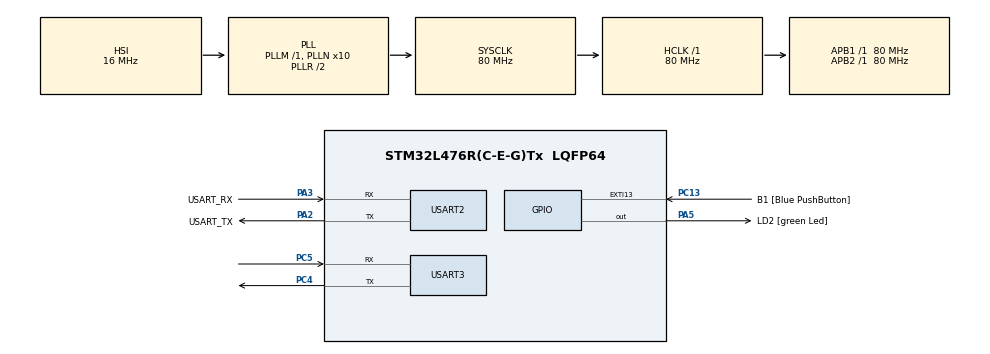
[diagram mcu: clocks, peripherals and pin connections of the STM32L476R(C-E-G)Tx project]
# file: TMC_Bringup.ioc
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Mcu.Family=STM32L4
Mcu.Name=STM32L476R(C-E-G)Tx
Mcu.Package=LQFP64
NVIC.PriorityGroup=NVIC_PRIORITYGROUP_4
PA13\ (JTMS-SWDIO).GPIO_Label=TMS
PA13\ (JTMS-SWDIO).Mode=Serial_Wire
PA13\ (JTMS-SWDIO).Signal=SYS_JTMS-SWDIO
PA14\ (JTCK-SWCLK).GPIO_Label=TCK
PA14\ (JTCK-SWCLK).Mode=Serial_Wire
PA14\ (JTCK-SWCLK).Signal=SYS_JTCK-SWCLK
PA2.GPIO_Label=USART_TX
PA2.GPIO_Mode=GPIO_MODE_AF_PP
PA2.GPIO_PuPd=GPIO_NOPULL
PA2.GPIO_Speed=GPIO_SPEED_FREQ_VERY_HIGH
PA2.Mode=Asynchronous
PA2.Signal=USART2_TX
PA3.GPIO_Label=USART_RX
PA3.GPIO_Mode=GPIO_MODE_AF_PP
PA3.GPIO_PuPd=GPIO_NOPULL
PA3.GPIO_Speed=GPIO_SPEED_FREQ_VERY_HIGH
PA3.Mode=Asynchronous
PA3.Signal=USART2_RX
PA5.GPIO_Label=LD2 [green Led]
PA5.GPIO_ModeDefaultOutputPP=GPIO_MODE_OUTPUT_PP
PA5.GPIO_PuPd=GPIO_NOPULL
PA5.GPIO_Speed=GPIO_SPEED_FREQ_LOW
PA5.Signal=GPIO_Output
PB3\ (JTDO-TRACESWO).GPIO_Label=SWO
PB3\ (JTDO-TRACESWO).Signal=SYS_JTDO-SWO
PC13.GPIO_Label=B1 [Blue PushButton]
PC13.GPIO_ModeDefaultEXTI=GPIO_MODE_IT_FALLING
PC13.GPIO_PuPd=GPIO_NOPULL
PC13.Signal=GPXTI13
PC14-OSC32_IN\ (PC14).Mode=LSE-External-Oscillator
PC14-OSC32_IN\ (PC14).Signal=RCC_OSC32_IN
PC15-OSC32_OUT\ (PC15).Mode=LSE-External-Oscillator
PC15-OSC32_OUT\ (PC15).Signal=RCC_OSC32_OUT
PC4.Mode=Asynchronous
PC4.Signal=USART3_TX
PC5.Mode=Asynchronous
PC5.Signal=USART3_RX
PH0-OSC_IN\ (PH0).Signal=RCC_OSC_IN
PH1-OSC_OUT\ (PH1).Signal=RCC_OSC_OUT
ProjectManager.HeapSize=0x200
ProjectManager.StackSize=0x400
ProjectManager.TargetToolchain=STM32CubeIDE
RCC.ADCFreq_Value=64000000
RCC.AHBFreq_Value=80000000
RCC.APB1Freq_Value=80000000
RCC.APB1TimFreq_Value=80000000
RCC.APB2Freq_Value=80000000
RCC.APB2TimFreq_Value=80000000
RCC.CortexFreq_Value=80000000
RCC.HCLKFreq_Value=80000000
RCC.HSE_VALUE=8000000
RCC.HSI_VALUE=16000000
RCC.MSI_VALUE=4000000
RCC.PLLN=10
RCC.PLLSourceVirtual=RCC_PLLSOURCE_HSI
RCC.PREFETCH_ENABLE=1
RCC.SYSCLKFreq_VALUE=80000000
RCC.SYSCLKSource=RCC_SYSCLKSOURCE_PLLCLK
RCC.USBFreq_Value=64000000
RCC.VCOOutputFreq_Value=160000000
USART2.VirtualMode-Asynchronous=VM_ASYNC
USART3.VirtualMode-Asynchronous=VM_ASYNC
board=NUCLEO-L476RG

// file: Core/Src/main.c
/* USER CODE BEGIN Header */
/**
  ******************************************************************************
  * @file           : main.c
  * @brief          : Main program body
  ******************************************************************************
  * @attention
  *
  * Copyright (c) 2026 STMicroelectronics.
  * All rights reserved.
  *
  * This software is licensed under terms that can be found in the LICENSE file
  * in the root directory of this software component.
  * If no LICENSE file comes with this software, it is provided AS-IS.
  *
  ******************************************************************************
  */
/* USER CODE END Header */
#include "main.h"

/* USER CODE BEGIN Includes */
#include "tmc/ic/TMC9660/TMC9660.h"
#include "tmc/ic/TMC9660/TMC9660_BL_HW_Abstraction.h"
#include "tmc/ic/TMC9660/TMC9660_PARAM_HW_Abstraction.h"
#include <stdio.h>
#include <stdarg.h>
/* USER CODE END Includes */

UART_HandleTypeDef huart2; // Terminal (ST-LINK)
UART_HandleTypeDef huart3; // TMC9660 (CN10 P1, P2)

/* USER CODE BEGIN PV */
uint16_t tmc9660_id = 0;
int32_t chipID = 0;
uint8_t tmc_detected = false;
/* USER CODE END PV */

void SystemClock_Config(void);
static void MX_GPIO_Init(void);
static void MX_USART2_UART_Init(void);
static void MX_USART3_UART_Init(void);
/* USER CODE BEGIN PFP */
bool tmc9660_app_GotoBootMode(uint16_t icID);
void tmc9660_UART_WriteRead(uint8_t channel, uint8_t *data, size_t writeLength, size_t readLength);
void UART_Printf(const char* fmt, ...);
/* USER CODE END PFP */

/* USER CODE BEGIN 0 */
/* Implementation of mandatory timestamp callback */
uint32_t tmc_getMicrosecondTimestamp(void)
{
    /* Return a value in microseconds.
       This example assumes a 80MHz SystemCoreClock. */
    return (uint32_t)(HAL_GetTick() * 1000);
}

/* Mandatory bus type callback */
TMC9660BusType tmc9660_getBusType(uint16_t icID)
{
    return TMC9660_BUS_UART;
}

/* Mandatory bus address callback */
TMC9660BusAddresses tmc9660_getBusAddresses(uint16_t icID)
{
    TMC9660BusAddresses addr;
    addr.device = 1;   // Default device address
    addr.host = 255;   // Default host address
    return addr;
}

/* Mandatory physical UART transport callback */
bool tmc9660_readWriteUART(uint16_t icID, uint8_t *data, size_t writeLength, size_t readLength)
{
	/*
	 * typedef enum
		{
		  HAL_OK       = 0x00,
		  HAL_ERROR    = 0x01,
		  HAL_BUSY     = 0x02,
		  HAL_TIMEOUT  = 0x03
		} HAL_StatusTypeDef;
	 */
	// 1. Transmit the command
	if (HAL_UART_Transmit(&huart3, data, (uint16_t)writeLength, 100) != HAL_OK) return false;

	// 2. Receive the reply
	if (readLength > 0)
	{
		uint8_t byteIn = 0;

		// --- THE FIX: Line-Turnaround Glitch Filter ---
		// Read bytes one by one until we get a non-zero byte.
		// This silently discards the 0x00 glitch and captures the true start byte (e.g., 255).
		do {
			if (HAL_UART_Receive(&huart3, &byteIn, 1, 50) != HAL_OK) {
				return false; // Timeout
			}
		} while (byteIn == 0x00);

		// Store the first valid byte (255) at the correct index (0)
		data[0] = byteIn;

		// Read the remaining bytes of the datagram (which will now include the CRC!)
		if (readLength > 1) {
			if (HAL_UART_Receive(&huart3, &data[1], (uint16_t)(readLength - 1), 100) != HAL_OK) {
				return false;
			}
		}
	}

	return true;
}
/* Debug Helper: Print formatted strings to USART2 (PC Terminal) */
void UART_Printf(const char* fmt, ...) {
    char buf[128];
    va_list args;
    va_start(args, fmt);
    int len = vsnprintf(buf, sizeof(buf), fmt, args);
    va_end(args);
    if (len > 0) HAL_UART_Transmit(&huart2, (uint8_t*)buf, len, 100);
}

void Test_TMC9660_Status(int32_t status) {
    TMC9660ParamStatus test = (TMC9660ParamStatus)status;

    switch (test) {
        case TMC9660_PARAMSTATUS_CHKERROR:
            UART_Printf("STATUS: TMC9660_PARAMSTATUS_CHKERROR (Checksum error during communication)\r\n");
            break;
        case TMC9660_PARAMSTATUS_INVALID_CMD:
            UART_Printf("STATUS: TMC9660_PARAMSTATUS_INVALID_CMD (Invalid command number)\r\n");
            break;
        case TMC9660_PARAMSTATUS_WRONG_TYPE:
            UART_Printf("STATUS: TMC9660_PARAMSTATUS_WRONG_TYPE (Invalid type number)\r\n");
            break;
        case TMC9660_PARAMSTATUS_INVALID_VALUE:
            UART_Printf("STATUS: TMC9660_PARAMSTATUS_INVALID_VALUE (Invalid value)\r\n");
            break;
        case TMC9660_PARAMSTATUS_CMD_NOT_AVAILABLE:
            UART_Printf("STATUS: TMC9660_PARAMSTATUS_CMD_NOT_AVAILABLE (Command currently not available)\r\n");
            break;
        case TMC9660_PARAMSTATUS_CMD_LOAD_ERROR:
            UART_Printf("STATUS: TMC9660_PARAMSTATUS_CMD_LOAD_ERROR (Failed to load command into script memory)\r\n");
            break;
        case TMC9660_PARAMSTATUS_MAX_EXCEEDED:
            UART_Printf("STATUS: TMC9660_PARAMSTATUS_MAX_EXCEEDED (Maximum exceeded)\r\n");
            break;
        case TMC9660_PARAMSTATUS_CMD_DOWNLOAD_NOT_POSSIBLE:
            UART_Printf("STATUS: TMC9660_PARAMSTATUS_CMD_DOWNLOAD_NOT_POSSIBLE (Script memory loading not available)\r\n");
            break;
        case TMC9660_PARAMSTATUS_OK:
            UART_Printf("STATUS: TMC9660_PARAMSTATUS_OK (Success)\r\n");
            break;
        case TMC9660_PARAMSTATUS_CMD_LOADED:
            UART_Printf("STATUS: TMC9660_PARAMSTATUS_CMD_LOADED (Command successfully loaded into script memory)\r\n");
            break;
        default:
            UART_Printf("STATUS: UNKNOWN (Code: %ld)\r\n", status);
            break;
    }
}

void ERR_Handler(int line) {
	UART_Printf("\nFailure @ line: %d\n", line);
	while(1) {};
}

bool tmc9660_app_GotoBootMode(uint16_t icID) {
	// assuming tmc9660_id global set
	bool ret = false;
	uint32_t rVal = 0;
	TMC9660BlStatus blStatus;

	// 1. Try returning from Register Mode
	// TODO: improve TMC-API to return device status byte reply
    tmc9660_reg_returnToBootloader(icID);
    HAL_Delay(100); // Delay for possible Init

    // 2. Try returning from Parameter Mode
    // TODO: improve TMC-API to return device status byte reply
    tmc9660_param_returnToBootloader(icID);
    HAL_Delay(100); // Delay for possible Init

	// 3. Confirm Boot Mode
	blStatus = tmc9660_bl_sendCommand(icID, TMC9660_BLCMD_GET_INFO, 0, &rVal);
	if ( blStatus == TMC9660_BLSTATUS_OK ) {
		ret = true;
	}

	return ret;
}

/**
 * @brief Converts TMC9660 raw voltage units (100mV) to Millivolts (mV).
 * @param volt100mV Raw value from IC (e.g., 80 for 8.0V).
 * @return uint32_t Equivalent value in millivolts (e.g., 8000).
 */
static inline uint32_t tmc9660_app_volt100mVtoMV(uint32_t volt100mV) {
    return volt100mV * 100;
}

/* Helper: Step 1 - Verify Motor Supply Voltage >= 8V */
static bool verifyMotorVoltage(uint16_t icID) {
    // 1. Get raw parameter (Units: 100mV)
	// TODO: prefer to expose TMC9660ParamStatus device status reply in TMC-API
    uint32_t raw_voltage = tmc9660_param_getParameter(icID, TMC9660_PARAM_SUPPLY_VOLTAGE);

    // 2. Convert to Millivolts (mV)
    uint32_t voltage_mv = tmc9660_app_volt100mVtoMV(raw_voltage);

    // 3. Perform threshold check (8000mV)
    if (voltage_mv < 8000) {
        UART_Printf("Error: Voltage is %ld mV (threshold 8000 mV)\r\n", voltage_mv);
        return false;
    }

    return true;
}

/* Helper: Step 2 - Set Motor Type to BLDC */
static bool setupMotorType(uint16_t icID) {
    // 3 = 3-Phase BLDC/PMSM
	// TODO: prefer to expose TMC9660ParamStatus device status reply in TMC-API
    return tmc9660_param_setParameter(icID, TMC9660_PARAM_MOTOR_TYPE, 3);
}

/* Helper: Step 3 - Set Pole Pairs */
static bool setupPolePairs(uint16_t icID) {
    // QBL5704-94-04-032 has 4 poles = 2 pole pairs
	// TODO: prefer to expose TMC9660ParamStatus device status reply in TMC-API
    return tmc9660_param_setParameter(icID, TMC9660_PARAM_MOTOR_POLE_PAIRS, 2);
}

/* Helper: Step 4 - Set Commutation Mode to FOC Hall */
static bool setupCommutationMode(uint16_t icID) {
    // 6 = FOC based on Hall Sensor feedback
	// TODO: prefer to expose TMC9660ParamStatus device status reply in TMC-API
    return tmc9660_param_setParameter(icID, TMC9660_PARAM_COMMUTATION_MODE, 6);
}

/**
 * @brief Configures the TMC9660 for a Hall-based FOC test with the QBL5704 motor.
 * @param icID The identifier for the IC.
 * @return bool True if all steps passed, False otherwise.
 */
bool tmc9660_app_setupQBL5704BLDCHallFeedbackTest(uint16_t icID) {
	bool test;
    UART_Printf("\r\n--- Starting QBL5704 Setup ---\r\n");

    // Step 1: Voltage Verification
    test = verifyMotorVoltage(icID);
    if (test == false) {
        UART_Printf("Error: Supply voltage too low (< 8V). Check VS power.\r\n");
        return false;
    }
    UART_Printf("1. Voltage Check: OK\r\n");

    // Step 2: Configure Motor Type
    test = setupMotorType(icID);
    if (test == false) {
        UART_Printf("Error: Failed to set Motor Type.\r\n");
        return false;
    }
    UART_Printf("2. Motor Type: BLDC\r\n");

    // Step 3: Configure Pole Pairs
    test = setupPolePairs(icID);
    if (test == false) {
        UART_Printf("Error: Failed to set Pole Pairs.\r\n");
        return false;
    }
    UART_Printf("3. Pole Pairs: 2\r\n");

    // Step 4: Configure Commutation
    test = setupCommutationMode(icID);
    if (test == false) {
        UART_Printf("Error: Failed to set Commutation Mode.\r\n");
        return false;
    }
    UART_Printf("4. Commutation: FOC Hall\r\n");

    UART_Printf("--- QBL5704 Setup Successful ---\r\n");
    return true;
}

/**
 * @brief Performs electrical alignment using Open Loop Current Mode (4).
 * @param icID The identifier for the IC.
 * @return bool True if alignment was successful.
 */
bool tmc9660_app_alignQBL5704HallOffset(uint16_t icID) {
    uint32_t hall_angle_at_zero = 0;

    UART_Printf("\r\n--- Starting Hall Alignment (Current Mode 4) ---\r\n");

    // 1. Enter Open Loop Current Mode (4)
    tmc9660_param_setParameter(icID, TMC9660_PARAM_COMMUTATION_MODE, 4);

    // 2. Set the target electrical angle to 0
    tmc9660_param_setParameter(icID, TMC9660_PARAM_OPENLOOP_ANGLE, 0);

    // 3. Apply alignment current (e.g., 800 units for QBL5704)
    // This locks the rotor to the magnetic 0° position.
    tmc9660_param_setParameter(icID, TMC9660_PARAM_OPENLOOP_CURRENT, 800);

    // 4. Wait for the rotor to physically settle at the magnetic pole
    HAL_Delay(1200);

    // 5. Read the raw Hall electrical angle
    hall_angle_at_zero = tmc9660_param_getParameter(icID, TMC9660_PARAM_HALL_PHI_E);

    UART_Printf("Rotor Locked at 0 deg. Hall Angle Reported: %ld\r\n", hall_angle_at_zero);

    // 6. Set the Offset to bridge the gap between Sensor 0 and Magnetic 0
    tmc9660_param_setParameter(icID, TMC9660_PARAM_HALL_PHI_E_OFFSET, hall_angle_at_zero);

    // 7. Cleanup: Disable current and return to a safe state
    tmc9660_param_setParameter(icID, TMC9660_PARAM_OPENLOOP_CURRENT, 0);
    tmc9660_param_setParameter(icID, TMC9660_PARAM_COMMUTATION_MODE, 0);

    UART_Printf("Offset Programmed. IC now calibrated for QBL5704.\r\n");
    return true;
}

/**
 * @brief Simple test for the QBL5704 motor.
 * Sets safety limits and applies a 200mA torque command.
 */
bool tmc9660_app_runQBL5704BLDCHallFeedbackTest(uint16_t icID) {
	// 0. Setup Necessary Parameter Fields
	// Side Effect: COMMUTATION_MODE=FOC_HALL(6),
	bool test = tmc9660_app_setupQBL5704BLDCHallFeedbackTest(icID);
	if (test == false) {
		return false;
	}

    // 1. Set Maximum Current & Torque Limits (ID 6)
    // In FOC, these are controlled by the same parameter (Max Iq).
    // Setting to 1000 units (Assuming 1.0A / 1000mA limit).
    tmc9660_param_setParameter(icID, TMC9660_PARAM_MAX_TORQUE, 1000);

    // 2. Set Maximum Voltage Limit (ID 5)
    // Setting to 240 units (24.0V limit @ 100mV per unit).
    tmc9660_param_setParameter(icID, TMC9660_PARAM_OUTPUT_VOLTAGE_LIMIT, 240);

    // 3. Set Target Torque (ID 104)
    // Command a constant 200mA torque producing current (Iq).
    // This will cause the motor to spin if the Hall alignment is correct.
    tmc9660_param_setParameter(icID, TMC9660_PARAM_TARGET_TORQUE, 200);
    HAL_Delay(5000);
    tmc9660_param_setParameter(icID, TMC9660_PARAM_TARGET_TORQUE, 0);

    return true;
}
/* USER CODE END 0 */

int main(void)
{

  /* MCU Configuration--------------------------------------------------------*/

  /* Reset of all peripherals, Initializes the Flash interface and the Systick. */
  HAL_Init();

  /* Configure the system clock */
  SystemClock_Config();

  /* Initialize all configured peripherals */
  MX_GPIO_Init();
  MX_USART2_UART_Init();
  MX_USART3_UART_Init();
  /* USER CODE BEGIN 2 */

  /* USER CODE BEGIN 2 */
  uint32_t rVal = 0;
  TMC9660BlStatus blStatus;
  uint32_t reg = 0;

  UART_Printf("\r\n--- TMC9660 Boot Configuration ---\r\n");
  // Can burn these to One-Time-Programming Memory, but not necessary
  // Instead, just run following code block on boot
  // Note: TMC9660's LDOs will lag according to SS_VEXTx_FIELD
  // Note: Fields in Steps #1-#5 are from TMC9660 Datasheet
  // Note: Fields in Steps #6 are from TMC9660 Parameter Mode Guide

  bool bootInit = tmc9660_app_GotoBootMode(tmc9660_id);
  if (bootInit == false) {
	  UART_Printf("Failed to enter Boot Mode\n");
	  ERR_Handler(__LINE__);
  }

  // Select CONFIG Bank 5
  blStatus = tmc9660_bl_sendCommand(tmc9660_id, TMC9660_BLCMD_SET_BANK, 5, &rVal);
  if (blStatus != TMC9660_BLSTATUS_OK) {
  	  ERR_Handler(__LINE__);
  }

  // 1. LDO & POWER
  // VEXT1=5.0V(3), Slope=3ms(0), VEXT2=3.3V(2), Slope=3ms(0), ShortFault=false(0)
  blStatus = tmc9660_bl_sendCommand(tmc9660_id, TMC9660_BLCMD_SET_ADDRESS, CONFIG_BOOT_00_POWER, &rVal);
  if (blStatus != TMC9660_BLSTATUS_OK) {
	  ERR_Handler(__LINE__);
  }
  blStatus = tmc9660_bl_sendCommand(tmc9660_id, TMC9660_BLCMD_READ_16, 0, &reg);
  if (blStatus != TMC9660_BLSTATUS_OK) {
	  ERR_Handler(__LINE__);
  }
  reg = field_update16(reg, CONFIG_BOOT_00_POWER_VEXT1_FIELD, 3); 				/* 0: LDO disabled
																				 * 1: 2.5V
																				 * 2: 3.3V
																				 * 3: 5.0V <--
																				 */
  reg = field_update16(reg, CONFIG_BOOT_00_POWER_SS_VEXT1_FIELD, 0);			/* 0: 3ms <--
																				 * 1: 1.5ms
																				 * 2: 0.75ms
																				 * 3: 0.37ms
																				 */
  reg = field_update16(reg, CONFIG_BOOT_00_POWER_VEXT2_FIELD, 2);				/* 0: LDO disabled
																				 * 1: 2.5V
																				 * 2: 3.3V <--
																				 * 3: 5.0V
																				 */
  reg = field_update16(reg, CONFIG_BOOT_00_POWER_SS_VEXT2_FIELD, 0);			/* 0: 3ms	<--
																				 * 1: 1.5ms
																				 * 2: 0.75ms
																				 * 3: 0.37ms
																				 */
  reg = field_update16(reg, CONFIG_BOOT_00_POWER_LDO_SHORT_FAULT_FIELD, 0);		// Default: 0
  blStatus = tmc9660_bl_sendCommand(tmc9660_id, TMC9660_BLCMD_SET_ADDRESS, CONFIG_BOOT_00_POWER, &rVal);
  if (blStatus != TMC9660_BLSTATUS_OK) {
	  ERR_Handler(__LINE__);
  }
  blStatus = tmc9660_bl_sendCommand(tmc9660_id, TMC9660_BLCMD_WRITE_16, reg, &rVal);
  if (blStatus != TMC9660_BLSTATUS_OK) {
  	  ERR_Handler(__LINE__);
  }
  // 2. UART & ADDRESSES
  // ChipAddr=1, HostAddr=255
  blStatus = tmc9660_bl_sendCommand(tmc9660_id, TMC9660_BLCMD_SET_ADDRESS, CONFIG_BOOT_01_ADDRESS, &rVal);
  if (blStatus != TMC9660_BLSTATUS_OK) {
	  ERR_Handler(__LINE__);
  }
  blStatus = tmc9660_bl_sendCommand(tmc9660_id, TMC9660_BLCMD_READ_16, 0, &reg);
  if (blStatus != TMC9660_BLSTATUS_OK) {
  	  ERR_Handler(__LINE__);
  }
  reg = field_update16(reg, CONFIG_BOOT_01_DEVICE_ADDRESS_FIELD, 1);			// Default: 1
  reg = field_update16(reg, CONFIG_BOOT_01_MASTER_ADDRESS_FIELD, 255);			// Default: 255
  blStatus = tmc9660_bl_sendCommand(tmc9660_id, TMC9660_BLCMD_SET_ADDRESS, CONFIG_BOOT_01_ADDRESS, &rVal);
  if (blStatus != TMC9660_BLSTATUS_OK) {
	  ERR_Handler(__LINE__);
  }
  blStatus = tmc9660_bl_sendCommand(tmc9660_id, TMC9660_BLCMD_WRITE_16, reg, &rVal);
  if (blStatus != TMC9660_BLSTATUS_OK) {
	  ERR_Handler(__LINE__);
  }

  // 3. INTERFACE CONFIG
  // UART Enable (Disable=0), SPI Slave Disable(1), TX=GPIO6(0), RX=GPIO7(0), Baud=auto16(7), SCK=GPIO11(1)
  blStatus = tmc9660_bl_sendCommand(tmc9660_id, TMC9660_BLCMD_SET_ADDRESS, CONFIG_BOOT_03_BOOT_INTERFACE, &rVal);
  if (blStatus != TMC9660_BLSTATUS_OK) {
	  ERR_Handler(__LINE__);
  }
  blStatus = tmc9660_bl_sendCommand(tmc9660_id, TMC9660_BLCMD_READ_16, 0, &reg);
  if (blStatus != TMC9660_BLSTATUS_OK) {
	  ERR_Handler(__LINE__);
  }
  reg = field_update16(reg, CONFIG_BOOT_03_INTERFACE_BL_DISABLE_UART_FIELD, 0); // Default: 0
  reg = field_update16(reg, CONFIG_BOOT_03_INTERFACE_BL_DISABLE_SPI_FIELD, 1);	// Default: 0
  reg = field_update16(reg, CONFIG_BOOT_03_INTERFACE_BL_UART_TX_FIELD, 0);		/* 0: GPIO6 <--
																				 * 1: GPIO0
																				 */
  reg = field_update16(reg, CONFIG_BOOT_03_INTERFACE_BL_UART_RX_FIELD, 0);		/* 0: GPIO7	<--
																				 * 1: GPIO0
																				 */
  reg = field_update16(reg, CONFIG_BOOT_03_INTERFACE_BL_UART_BAUDRATE_FIELD, 7);/* 0: 9600
																				 * 1: 19200
																				 * 2: 38400
																				 * 3: 57600
																				 * 4: 115200
																				 * 5: 1000000
																				 * 6: auto8
																				 * 7: auto16 <--
																				 */
  reg = field_update16(reg, CONFIG_BOOT_03_INTERFACE_BL_SPI0_SCK_FIELD, 1);		/* 0: GPIO6
																				 * 1: GPIO11 <--
																				 * Note: This is bit is only required for
																				 * the SPI bootloader communication if it
																				 * uses SPI0 (BL_SPI_SELECT=0)
																				 */
  blStatus = tmc9660_bl_sendCommand(tmc9660_id, TMC9660_BLCMD_SET_ADDRESS, CONFIG_BOOT_03_BOOT_INTERFACE, &rVal);
  if (blStatus != TMC9660_BLSTATUS_OK) {
	  ERR_Handler(__LINE__);
  }
  blStatus = tmc9660_bl_sendCommand(tmc9660_id, TMC9660_BLCMD_WRITE_16, reg, &rVal);
  if (blStatus != TMC9660_BLSTATUS_OK) {
	  ERR_Handler(__LINE__);
  }

  // 4. SPI FLASH
  // Enable=true, CS=GPIO12, Freq=10MHz(3 @ 40MHz Sys)
  blStatus = tmc9660_bl_sendCommand(tmc9660_id, TMC9660_BLCMD_SET_ADDRESS, CONFIG_BOOT_05_FLASH, &rVal);
  if (blStatus != TMC9660_BLSTATUS_OK) {
	  ERR_Handler(__LINE__);
  }
  blStatus = tmc9660_bl_sendCommand(tmc9660_id, TMC9660_BLCMD_READ_16, 0, &reg);
  if (blStatus != TMC9660_BLSTATUS_OK) {
	  ERR_Handler(__LINE__);
  }
  reg = field_update16(reg, CONFIG_BOOT_05_SPI_FLASH_EN_FIELD, 1);				// Default: 0
  reg = field_update16(reg, CONFIG_BOOT_05_FLASH_SPI_CS_SW_FIELD, 12);			/* assuming this field is SPI_FLASH_CS from datasheet
																				 * assign GPIO pin to SPI_FLASH chip select
																				 */
  reg = field_update16(reg, CONFIG_BOOT_05_FLASH_SPI_DIV_FIELD, 3);				/* assuming this field is SPI_FLASH_FREQ from datasheet
																				 * default .toml file sets SPI_FLASH_FREQ to 10MHz
																				 * and datasheet shows: SPI_FLASH_FREQ=3 -> 10MHz
																				 */
  blStatus = tmc9660_bl_sendCommand(tmc9660_id, TMC9660_BLCMD_SET_ADDRESS, CONFIG_BOOT_05_FLASH, &rVal);
  if (blStatus != TMC9660_BLSTATUS_OK) {
	  ERR_Handler(__LINE__);
  }
  blStatus = tmc9660_bl_sendCommand(tmc9660_id, TMC9660_BLCMD_WRITE_16, reg, &rVal);
  if (blStatus != TMC9660_BLSTATUS_OK) {
	  ERR_Handler(__LINE__);
  }

  // 5. CLOCK & PLL
  // ExtOsc(1), 16MHz(3), Boost=false(0), SysFreq=40MHz(0), RDIV=15(16MHz-1)
  blStatus = tmc9660_bl_sendCommand(tmc9660_id, TMC9660_BLCMD_SET_ADDRESS, CONFIG_BOOT_0C_CLK_SEL_INIT, &rVal);
  if (blStatus != TMC9660_BLSTATUS_OK) {
	  ERR_Handler(__LINE__);
  }
  blStatus = tmc9660_bl_sendCommand(tmc9660_id, TMC9660_BLCMD_READ_32, 0, &reg);
  if (blStatus != TMC9660_BLSTATUS_OK) {
	  ERR_Handler(__LINE__);
  }
  // TODO: Custom board will have to use Internal Oscillator
  reg = field_update32(reg, CONFIG_BOOT_0C_CLK_SEL_INIT_EXT_NOT_INT_FIELD, 1);	/* 0: Internal 15MHz oscillator
																				 * 1: External clock source selected by EXT_NOT_XTAL.
																				 */
  reg = field_update32(reg, CONFIG_BOOT_0C_CLK_SEL_INIT_XTAL_CFG_FIELD, 3);		/* 0: RESERVED
																				 * 1: 8MHz
																				 * 2: RESERVED
																				 * 3: 16MHz
																				 * 4: RESERVED
																				 * 5: 24MHz-25MHz
																				 * 6: 32MHz
																				 * 7: RESERVED
																				 */
  reg = field_update32(reg, CONFIG_BOOT_0C_CLK_SEL_INIT_EXT_NOT_XTAL_FIELD, 0); /* 0: External oscillator
																				 * 1: External clock
																				 */
  reg = field_update32(reg, CONFIG_BOOT_0C_CLK_SEL_INIT_XTAL_BOOST_FIELD, 0);	// Default: 0
  reg = field_update32(reg, CONFIG_BOOT_0C_CLK_SEL_INIT_PLL_OUT_SEL_FIELD, 1);	/* 0. Use the internal oscillator
																				 * 1: Use the PLL
																				 * 2: RESERVED
																				 * 3: RESERVED
																				 */
  reg = field_update32(reg, CONFIG_BOOT_0C_CLK_SEL_INIT_RDIV_FIELD, 15);		/* Divider of the PLL input frequency. Must be set to the input frequency in
																				 * MHz minus one.
																				 * The internal oscillator has a frequency of 15 MHz. For Internal oscillator
																				 * input (EXT_NOT_INT=0), RDIV must be set to 14.
																				 * Default: 14
																				 */
  reg = field_update32(reg, CONFIG_BOOT_0C_CLK_SEL_INIT_SYS_CLK_DIV_FIELD, 0);  /* 0: 40MHz
																				 * 1: RESERVED
																				 * 2: RESERVED
																				 * 3: 15MHz
																				 * Note: Only change this setting during the workaround for Erratum 1:
																				 * Bootloader OTP_BURN Command.
																				 */
  blStatus = tmc9660_bl_sendCommand(tmc9660_id, TMC9660_BLCMD_SET_ADDRESS, CONFIG_BOOT_0C_CLK_SEL_INIT, &rVal);
  if (blStatus != TMC9660_BLSTATUS_OK) {
	  ERR_Handler(__LINE__);
  }
  blStatus = tmc9660_bl_sendCommand(tmc9660_id, TMC9660_BLCMD_WRITE_32, reg, &rVal);
  if (blStatus != TMC9660_BLSTATUS_OK) {
	  ERR_Handler(__LINE__);
  }
  HAL_Delay(50); // PLL stabilization
  // TODO: read PLL_STATUS reg to confirm configuration correctness
  /* Note: Running the motor control system is only supported with system clock configured to 40 MHz (PLL_OUT_SEL=1
   * 	   with a valid PLL configuration and SYS_CLK_DIV=0).
   * Note: The clock configuration should be written with a single WRITE_32 or WRITE_32_INC command.
   */

  // 6. APP CONFIG 0 (HALL)
  // Enable=true, U=2, V=3, W=4
  blStatus = tmc9660_bl_sendCommand(tmc9660_id, TMC9660_BLCMD_SET_ADDRESS, CONFIG_BOOT_10_APP_CONFIG_0, &rVal);
  if (blStatus != TMC9660_BLSTATUS_OK) {
	  ERR_Handler(__LINE__);
  }
  blStatus = tmc9660_bl_sendCommand(tmc9660_id, TMC9660_BLCMD_READ_16, 0, &reg);
  if (blStatus != TMC9660_BLSTATUS_OK) {
	  ERR_Handler(__LINE__);
  }
  reg = field_update16(reg, CONFIG_BOOT_10_APP_CONFIG_0_HALL_ENABLE_FIELD, 1);  // Default: 0
  reg = field_update16(reg, CONFIG_BOOT_10_APP_CONFIG_0_HALL_UX_FIELD, 0);		/* 0: GPIO2	<--
																				 * 1: GPIO7
																				 * 2: GPIO9
																				 * 3: RESERVED
																				 */
  reg = field_update16(reg, CONFIG_BOOT_10_APP_CONFIG_0_HALL_V_FIELD, 0);		/* 0: GPIO3	<--
																				 * 1: GPIO15
																				 * 2: RESERVED
																				 * 3: RESERVED
																				 */
  reg = field_update16(reg, CONFIG_BOOT_10_APP_CONFIG_0_HALL_WY_FIELD, 0);		/* 0: GPIO4	<--
																				 * 1: GPIO8
																				 * 2: GPIO10
																				 * 3: RESERVED
																				 */
  blStatus = tmc9660_bl_sendCommand(tmc9660_id, TMC9660_BLCMD_SET_ADDRESS, CONFIG_BOOT_10_APP_CONFIG_0, &rVal);
  if (blStatus != TMC9660_BLSTATUS_OK) {
	  ERR_Handler(__LINE__);
  }
  blStatus = tmc9660_bl_sendCommand(tmc9660_id, TMC9660_BLCMD_WRITE_16, reg, &rVal);
  if (blStatus != TMC9660_BLSTATUS_OK) {
	  ERR_Handler(__LINE__);
  }

  // 7. APP CONFIG 2 (WATCHDOG)
  // Enable=true(Disable=0), Timeout=2000ms(7)
  blStatus = tmc9660_bl_sendCommand(tmc9660_id, TMC9660_BLCMD_SET_ADDRESS, CONFIG_BOOT_12_APP_CONFIG_2, &rVal);
  if (blStatus != TMC9660_BLSTATUS_OK) {
	  ERR_Handler(__LINE__);
  }
  blStatus = tmc9660_bl_sendCommand(tmc9660_id, TMC9660_BLCMD_READ_16, 0, &reg);
  if (blStatus != TMC9660_BLSTATUS_OK) {
	  ERR_Handler(__LINE__);
  }
  reg = field_update16(reg, CONFIG_BOOT_12_APP_CONFIG_2_WDG_DISABLE_FIELD, 1);	// Default: 0
//      reg = field_update16(reg, CONFIG_BOOT_12_APP_CONFIG_2_WDG_TIMEOUT_FIELD, 7); // removed, could not find documentation
  blStatus = tmc9660_bl_sendCommand(tmc9660_id, TMC9660_BLCMD_SET_ADDRESS, CONFIG_BOOT_12_APP_CONFIG_2, &rVal);
  if (blStatus != TMC9660_BLSTATUS_OK) {
	  ERR_Handler(__LINE__);
  }
  blStatus = tmc9660_bl_sendCommand(tmc9660_id, TMC9660_BLCMD_WRITE_16, reg, &rVal);
  if (blStatus != TMC9660_BLSTATUS_OK) {
	  ERR_Handler(__LINE__);
  }

  // 8. GPIO INIT (GPIO 5, 17, 18)
  // GPIO17/18: Input, Pulldown. GPIO5: Analog.
  blStatus = tmc9660_bl_sendCommand(tmc9660_id, TMC9660_BLCMD_SET_ADDRESS, CONFIG_BOOT_0B_GPIO_16_18_INIT, &rVal);
  if (blStatus != TMC9660_BLSTATUS_OK) {
	  ERR_Handler(__LINE__);
  }
  blStatus = tmc9660_bl_sendCommand(tmc9660_id, TMC9660_BLCMD_READ_16, 0, &reg);
  if (blStatus != TMC9660_BLSTATUS_OK) {
	  ERR_Handler(__LINE__);
  }
  reg = field_update16(reg, CONFIG_BOOT_0B_GPIO_16_18_INIT_GPIO17_OUT_EN_FIELD, 0); // Input
  reg = field_update16(reg, CONFIG_BOOT_0B_GPIO_16_18_INIT_GPIO17_PD_FIELD, 1);     // Pulldown
  reg = field_update16(reg, CONFIG_BOOT_0B_GPIO_16_18_INIT_GPIO18_OUT_EN_FIELD, 0); // Input
  reg = field_update16(reg, CONFIG_BOOT_0B_GPIO_16_18_INIT_GPIO18_PD_FIELD, 1);     // Pulldown
  reg = field_update16(reg, CONFIG_BOOT_0B_GPIO_16_18_INIT_GPIO5_ANALOG_EN_FIELD, 1); // GPIO5 Analog
  blStatus = tmc9660_bl_sendCommand(tmc9660_id, TMC9660_BLCMD_SET_ADDRESS, CONFIG_BOOT_0B_GPIO_16_18_INIT, &rVal);
  if (blStatus != TMC9660_BLSTATUS_OK) {
	  ERR_Handler(__LINE__);
  }
  blStatus = tmc9660_bl_sendCommand(tmc9660_id, TMC9660_BLCMD_WRITE_16, reg, &rVal);
  if (blStatus != TMC9660_BLSTATUS_OK) {
	  ERR_Handler(__LINE__);
  }

  // 9. BOOTSTRAP
  // Mode=Param(2), StartApp=true(1)
  blStatus = tmc9660_bl_sendCommand(tmc9660_id, TMC9660_BLCMD_SET_ADDRESS, CONFIG_BOOT_04_BOOTSTRAP, &rVal);
  if (blStatus != TMC9660_BLSTATUS_OK) {
	  ERR_Handler(__LINE__);
  }
  blStatus = tmc9660_bl_sendCommand(tmc9660_id, TMC9660_BLCMD_READ_16, 0, &reg);
  if (blStatus != TMC9660_BLSTATUS_OK) {
	  ERR_Handler(__LINE__);
  }
  reg = field_update16(reg, CONFIG_BOOT_04_BOOTSTRAP_BOOT_APP_FIELD, 2);		// I assume this field is BOOT_MODE from datasheet
																				/* 0: RESERVED
																				 * 1: Register mode
																				 * 2: Parameter mode
																				 * 3: RESERVED
																				 */
  reg = field_update16(reg, CONFIG_BOOT_04_BOOTSTRAP_LOAD_ROM_CODE_FIELD, 1);	// I assume this field is START_MOTOR_CTRL from datasheet
																				// Default: 0
  blStatus = tmc9660_bl_sendCommand(tmc9660_id, TMC9660_BLCMD_SET_ADDRESS, CONFIG_BOOT_04_BOOTSTRAP, &rVal);
  if (blStatus != TMC9660_BLSTATUS_OK) {
	  ERR_Handler(__LINE__);
  }
  blStatus = tmc9660_bl_sendCommand(tmc9660_id, TMC9660_BLCMD_WRITE_16, reg, &rVal);
  if (blStatus != TMC9660_BLSTATUS_OK) {
	  ERR_Handler(__LINE__);
  }

  // 10. FINAL BOOT
  UART_Printf("Soft-Config Applied. Transitioning to Parameter Mode...\r\n");
  // Note: confused whether BL cmd: CONFIG_BOOT_04_BOOTSTRAP_LOAD_ROM_CODE_FIELD or if param cmd: TMC9660_CMD_BOOT will start program
  HAL_Delay(200);

  uint32_t mV_voltage_motor = tmc9660_param_getParameter(tmc9660_id, TMC9660_PARAM_SUPPLY_VOLTAGE);
  if (mV_voltage_motor > 0) {
	  tmc_detected = true;
	  UART_Printf("SUCCESS: IC Active in Parameter Mode.\r\n");
	  UART_Printf("VM: %d.%d\n", mV_voltage_motor / 10, mV_voltage_motor % 10); // unit conversion 100mV -> 1V
  }

  bool test = tmc9660_app_alignQBL5704HallOffset(tmc9660_id);
  if ( test == true ) {
  	  UART_Printf("Motor Test Setup Success\n");
  }
  else
  {
	  UART_Printf("Motor Test Setup Fail\n");
  }

  // REMOVE FOR BOARD TESTING
//  test = tmc9660_app_runQBL5704BLDCHallFeedbackTest(tmc9660_id);
//  if ( test == true ) {
//	  UART_Printf("Motor Test Run Success\n");
//  }
//  else
//  {
//  	  UART_Printf("Motor Test Run Fail\n");
//  }

  /* USER CODE END 2 */

  /* USER CODE END 2 */

  /* Infinite loop */
  /* USER CODE BEGIN WHILE */
  while (1)
  {
    if (tmc_detected == true)
	{
	  /* Heartbeat: Slow toggle if chip was found */
	  HAL_GPIO_TogglePin(LD2_GPIO_Port, LD2_Pin);
	  HAL_Delay(500);
	}
	else
	{
	  /* Error: Fast blink if chip was not detected */
	  HAL_GPIO_TogglePin(LD2_GPIO_Port, LD2_Pin);
	  HAL_Delay(100);
	}
    /* USER CODE END WHILE */

  }
}

void SystemClock_Config(void)
{
  RCC_OscInitTypeDef RCC_OscInitStruct = {0};
  RCC_ClkInitTypeDef RCC_ClkInitStruct = {0};

  /** Configure the main internal regulator output voltage
  */
  if (HAL_PWREx_ControlVoltageScaling(PWR_REGULATOR_VOLTAGE_SCALE1) != HAL_OK)
  {
    Error_Handler();
  }

  /** Initializes the RCC Oscillators according to the specified parameters
  * in the RCC_OscInitTypeDef structure.
  */
  RCC_OscInitStruct.OscillatorType = RCC_OSCILLATORTYPE_HSI;
  RCC_OscInitStruct.HSIState = RCC_HSI_ON;
  RCC_OscInitStruct.HSICalibrationValue = RCC_HSICALIBRATION_DEFAULT;
  RCC_OscInitStruct.PLL.PLLState = RCC_PLL_ON;
  RCC_OscInitStruct.PLL.PLLSource = RCC_PLLSOURCE_HSI;
  RCC_OscInitStruct.PLL.PLLM = 1;
  RCC_OscInitStruct.PLL.PLLN = 10;
  RCC_OscInitStruct.PLL.PLLP = RCC_PLLP_DIV7;
  RCC_OscInitStruct.PLL.PLLQ = RCC_PLLQ_DIV2;
  RCC_OscInitStruct.PLL.PLLR = RCC_PLLR_DIV2;
  if (HAL_RCC_OscConfig(&RCC_OscInitStruct) != HAL_OK)
  {
    Error_Handler();
  }

  /** Initializes the CPU, AHB and APB buses clocks
  */
  RCC_ClkInitStruct.ClockType = RCC_CLOCKTYPE_HCLK|RCC_CLOCKTYPE_SYSCLK
                              |RCC_CLOCKTYPE_PCLK1|RCC_CLOCKTYPE_PCLK2;
  RCC_ClkInitStruct.SYSCLKSource = RCC_SYSCLKSOURCE_PLLCLK;
  RCC_ClkInitStruct.AHBCLKDivider = RCC_SYSCLK_DIV1;
  RCC_ClkInitStruct.APB1CLKDivider = RCC_HCLK_DIV1;
  RCC_ClkInitStruct.APB2CLKDivider = RCC_HCLK_DIV1;

  if (HAL_RCC_ClockConfig(&RCC_ClkInitStruct, FLASH_LATENCY_4) != HAL_OK)
  {
    Error_Handler();
  }
}

static void MX_USART2_UART_Init(void)
{

  huart2.Instance = USART2;
  huart2.Init.BaudRate = 115200;
  huart2.Init.WordLength = UART_WORDLENGTH_8B;
  huart2.Init.StopBits = UART_STOPBITS_1;
  huart2.Init.Parity = UART_PARITY_NONE;
  huart2.Init.Mode = UART_MODE_TX_RX;
  huart2.Init.HwFlowCtl = UART_HWCONTROL_NONE;
  huart2.Init.OverSampling = UART_OVERSAMPLING_16;
  huart2.Init.OneBitSampling = UART_ONE_BIT_SAMPLE_DISABLE;
  huart2.AdvancedInit.AdvFeatureInit = UART_ADVFEATURE_NO_INIT;
  if (HAL_UART_Init(&huart2) != HAL_OK)
  {
    Error_Handler();
  }

}

static void MX_USART3_UART_Init(void)
{

  huart3.Instance = USART3;
  huart3.Init.BaudRate = 115200;
  huart3.Init.WordLength = UART_WORDLENGTH_8B;
  huart3.Init.StopBits = UART_STOPBITS_1;
  huart3.Init.Parity = UART_PARITY_NONE;
  huart3.Init.Mode = UART_MODE_TX_RX;
  huart3.Init.HwFlowCtl = UART_HWCONTROL_NONE;
  huart3.Init.OverSampling = UART_OVERSAMPLING_16;
  huart3.Init.OneBitSampling = UART_ONE_BIT_SAMPLE_DISABLE;
  huart3.AdvancedInit.AdvFeatureInit = UART_ADVFEATURE_NO_INIT;
  if (HAL_UART_Init(&huart3) != HAL_OK)
  {
    Error_Handler();
  }

}

static void MX_GPIO_Init(void)
{
  GPIO_InitTypeDef GPIO_InitStruct = {0};

  /* GPIO Ports Clock Enable */
  __HAL_RCC_GPIOC_CLK_ENABLE();
  __HAL_RCC_GPIOH_CLK_ENABLE();
  __HAL_RCC_GPIOA_CLK_ENABLE();
  __HAL_RCC_GPIOB_CLK_ENABLE();

  /*Configure GPIO pin Output Level */
  HAL_GPIO_WritePin(LD2_GPIO_Port, LD2_Pin, GPIO_PIN_RESET);

  /*Configure GPIO pin : B1_Pin */
  GPIO_InitStruct.Pin = B1_Pin;
  GPIO_InitStruct.Mode = GPIO_MODE_IT_FALLING;
  GPIO_InitStruct.Pull = GPIO_NOPULL;
  HAL_GPIO_Init(B1_GPIO_Port, &GPIO_InitStruct);

  /*Configure GPIO pin : LD2_Pin */
  GPIO_InitStruct.Pin = LD2_Pin;
  GPIO_InitStruct.Mode = GPIO_MODE_OUTPUT_PP;
  GPIO_InitStruct.Pull = GPIO_NOPULL;
  GPIO_InitStruct.Speed = GPIO_SPEED_FREQ_LOW;
  HAL_GPIO_Init(LD2_GPIO_Port, &GPIO_InitStruct);

}

void Error_Handler(void)
{
  __disable_irq();
  while (1)
  {
  }
}
